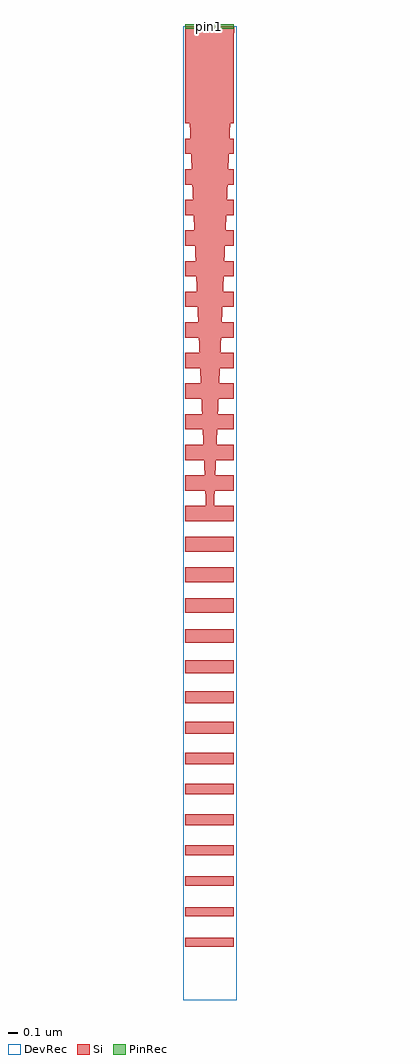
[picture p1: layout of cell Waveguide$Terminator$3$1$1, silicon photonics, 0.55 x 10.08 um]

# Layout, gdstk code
import gdstk
lib = gdstk.Library(unit=1e-6, precision=1e-09)
def R(c, l, rs):  # rectangles x0, y0, x1, y1
    for r in rs: c.add(gdstk.rectangle(r[:2], r[2:], *l))
def A(c, l, x, y, w, h, nx, ny, dx, dy):  # array of equal rectangles
    R(c, l, [(x+i*dx, y+j*dy, x+i*dx+w, y+j*dy+h) for i in range(nx) for j in range(ny)])
def P(c, l, *ps):  # polygons
    for p in ps: c.add(gdstk.Polygon(p, *l))
Si = (1, 0)
PinRec = (1, 10)
DevRec = (68, 0)

waveguide_terminator_3_1 = lib.new_cell('Waveguide$Terminator$3$1$1')
A(waveguide_terminator_3_1, Si, -0.255, -4.69, 0.5, 0.158, 1, 10, 0, 0.316)
A(waveguide_terminator_3_1, Si, -0.255, -1.53, 0.5, 0.158, 1, 5, 0, 0.316)
R(waveguide_terminator_3_1, Si, [(-0.255,-8.448,0.245,-8.358), (-0.255,-8.134,0.245,-8.04), (-0.255,-7.821,0.245,-7.721), (-0.255,-7.507,0.245,-7.403), (-0.255,-7.194,0.245,-7.084), (-0.255,-6.878,0.245,-6.768), (-0.255,-6.565,0.245,-6.449), (-0.255,-6.252,0.245,-6.13), (-0.255,-5.939,0.245,-5.811), (-0.255,-5.627,0.245,-5.491), (-0.255,-5.314,0.245,-5.172), (-0.255,-5.002,0.245,-4.852), (-0.255,-4.69,0.245,-4.532), (-0.255,-1.846,0.245,-1.688), (-0.255,-1.53,0.245,-1.372), (-0.255,0.05,0.245,1.05)])
P(waveguide_terminator_3_1, Si, [(-0.04,-3.96),(-0.25,1.04),(0.25,1.04),(0.04,-3.96)])
R(waveguide_terminator_3_1, DevRec, [(-0.275,-9,0.275,1.05)])
waveguide_terminator_3_1.add(gdstk.FlexPath([(-0.005,1.025),(-0.005,1.075)], 0.5, ends="flush", simple_path=True, layer=1, datatype=10))  # PinRec
waveguide_terminator_3_1.add(gdstk.Label('pin1', (-0.005,1.05), layer=1, texttype=10))

lib.write_gds('Waveguide_Terminator_3_1_1.gds')
